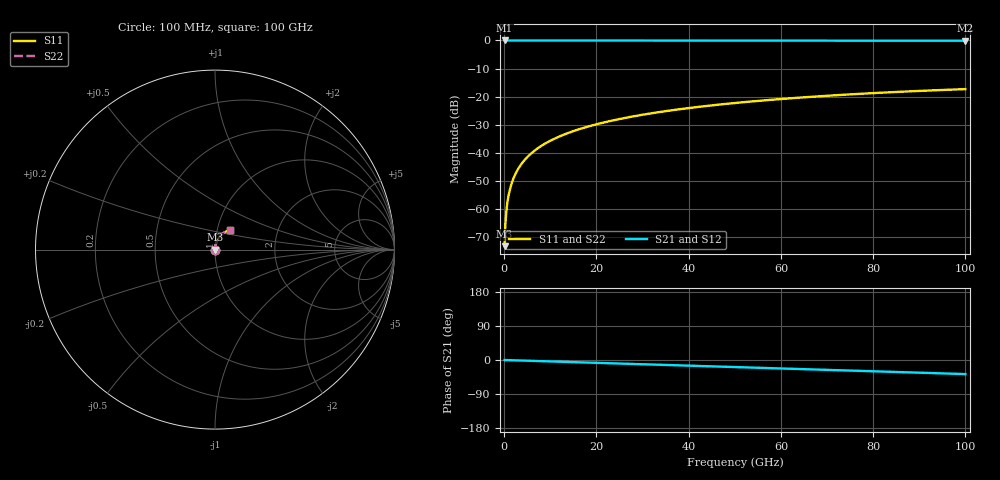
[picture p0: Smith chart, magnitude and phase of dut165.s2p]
! Touchstone file exported from HFSS 2026.1.0
!  File:  C:/ffzhzh/LocalFiles/Ansys_Project_Files/temp_train_TSV_165_1783506853_9504.aedt
!  Generated:  06:35:27 PM Jul  8, 2026
!  Design:  TSV
!  Project:  temp_train_TSV_165_1783506853_9504
! Variables:
!  h_bsmrdl = 2um
!  h_ox = 20um
!  h_rdl = 5um
!  h_sub = 66.77um
!  h_tmrdl = 5um
!  h_tsv = 66.77um
!  h_via = 3um
!  l_bsmrdl = 300um
!  l_sub = 421.8um
!  l_tmrdl = 200um
!  m_sub = 200um
!  pitch = 58.18um
!  r_tsv = 10.9um
!  s_tmrdl = 10um
!  w_bsmrdl = 18um
!  w_sub = 500um
!  w_tmrdl = 12um
!  x_tsv_center1 = 206um
!  x_tsv_center2 = 524um
!  x_tsv_center3 = 736um
!  x_tsv_center4 = 1054um
!  x_tsv_center5 = 1266um
!  x_tsv_center6 = 1584um
# GHz S MA R 50.000000
! Terminal data exported
! Port[1] = TSV1_1_T1
! Port[2] = TSV1_1_T2
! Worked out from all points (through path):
!   1000 points, 100 MHz to 100 GHz, reference 50 ohm
!   highest |S21| = 0.00 dB at 100 MHz (marker M1); lowest = -0.1 dB at 100 GHz (marker M2)
!   group delay of S21, straight-line fit = 1.03 ps
!   lowest |S11| = -73.2 dB at 100 MHz (marker M3), VSWR 1.00, Z = 50 + j0.0196 ohm
!   |S11| at or under -10 dB: start of sweep to end of sweep
!   |S22| runs from -73.2 to -17.3 dB; largest |S21 - S12| = 2.6e-15
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0.1  0.0002177 63.9  0.9999 -0.0  0.9999 -0.0  0.0002177 63.9
! Gamma 0 0 0 0
! Port Impedance 50 0 50 0
0.3  0.0005885 78.0  0.9999 -0.1  0.9999 -0.1  0.0005885 78.0
0.7  0.001296 81.4  0.9998 -0.3  0.9998 -0.3  0.001296 81.4
0.8  0.001467 81.8  0.9998 -0.3  0.9998 -0.3  0.001467 81.8
1  0.001804 82.5  0.9998 -0.4  0.9998 -0.4  0.001804 82.5
1.3  0.002305 83.1  0.9997 -0.5  0.9997 -0.5  0.002305 83.1
1.7  0.00297 83.8  0.9997 -0.6  0.9997 -0.6  0.00297 83.8
2.3  0.003962 84.3  0.9997 -0.9  0.9997 -0.9  0.003962 84.3
3  0.00511 84.5  0.9996 -1.1  0.9996 -1.1  0.00511 84.5
3.8  0.006413 84.7  0.9995 -1.4  0.9995 -1.4  0.006413 84.7
4.8  0.008031 84.7  0.9995 -1.8  0.9995 -1.8  0.008031 84.7
6  0.009966 84.6  0.9994 -2.3  0.9994 -2.3  0.009966 84.6
8.8  0.01446 84.1  0.9992 -3.3  0.9992 -3.3  0.01446 84.1
12.4  0.02019 83.1  0.999 -4.7  0.999 -4.7  0.02019 83.1
16.8  0.02714 81.7  0.9987 -6.3  0.9987 -6.3  0.02714 81.7
24.2  0.03868 79.3  0.9981 -9.1  0.9981 -9.1  0.03868 79.3
33.4  0.05274 76.1  0.9973 -12.5  0.9973 -12.5  0.05274 76.1
41.2  0.06433 73.4  0.9965 -15.4  0.9965 -15.4  0.06433 73.3
50.1  0.07711 70.2  0.9954 -18.7  0.9954 -18.7  0.07711 70.2
66.7  0.0994 64.2  0.9932 -24.8  0.9932 -24.8  0.0994 64.2
83.4  0.1193 58.1  0.9907 -31.0  0.9907 -31.0  0.1193 58.1
100  0.136 52.1  0.9883 -37.2  0.9883 -37.2  0.136 52.1
